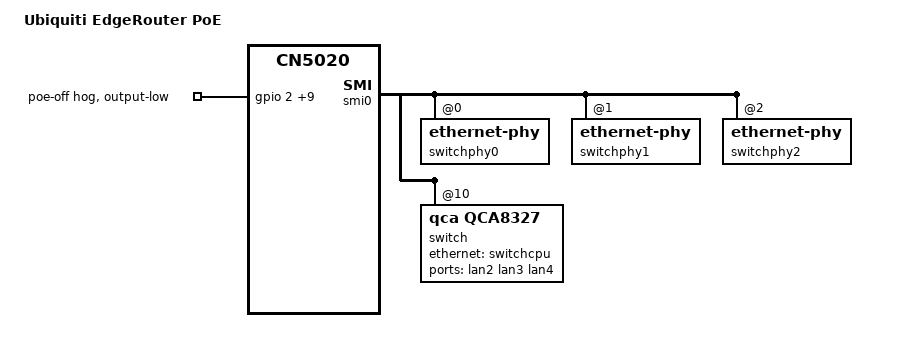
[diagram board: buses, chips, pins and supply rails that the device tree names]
// SPDX-License-Identifier: GPL-2.0-only

/include/ "ubnt_e100.dts"

/ {
	compatible = "ubnt,edgerouter-poe", "cavium,cn5020";
	model = "Ubiquiti EdgeRouter PoE";

	soc@0 {
		pip@11800a0000000 {
			interface@0 {
				ethernet@0 {
					label = "lan0";
					phy-mode = "rgmii-rxid";
				};
				ethernet@1 {
					label = "lan1";
					phy-mode = "rgmii-rxid";
				};
				switchcpu: ethernet@2 {
					/delete-property/ phy-handle;
					label = "switchcpu";
					phy-mode = "rgmii";
					rx-delay = <0x10>;
					fixed-link {
						speed = <1000>;
						full-duplex;
					};
				};
			};
		};
	};
};

&smi0 {
	/delete-node/ ethernet-phy@5;

	/* All five PHYs share the Octeon's external MDIO bus. */
	switchphy0: ethernet-phy@0 {
		reg = <0>;
	};
	switchphy1: ethernet-phy@1 {
		reg = <1>;
	};
	switchphy2: ethernet-phy@2 {
		reg = <2>;
	};

	switch@10 {
		compatible = "qca,qca8327";
		reg = <0x10>;

		ports {
			#address-cells = <1>;
			#size-cells = <0>;

			port@0 {
				reg = <0>;
				ethernet = <&switchcpu>;
				phy-mode = "rgmii-rxid";
				rx-internal-delay-ps = <1000>;
				fixed-link {
					speed = <1000>;
					full-duplex;
				};
			};
			port@1 {
				reg = <1>;
				label = "lan2";
				phy-mode = "internal";
				phy-handle = <&switchphy0>;
			};
			port@2 {
				reg = <2>;
				label = "lan3";
				phy-mode = "internal";
				phy-handle = <&switchphy1>;
			};
			port@3 {
				reg = <3>;
				label = "lan4";
				phy-mode = "internal";
				phy-handle = <&switchphy2>;
			};
		};
	};
};

&gpio {
	poe-power-disable {
		gpio-hog;
		gpios = <2 0>, <3 0>, <4 0>, <5 0>, <13 0>,
			<14 0>, <15 0>, <16 0>, <17 0>, <18 0>;
		output-low;
		line-name = "poe-off";
	};
};
